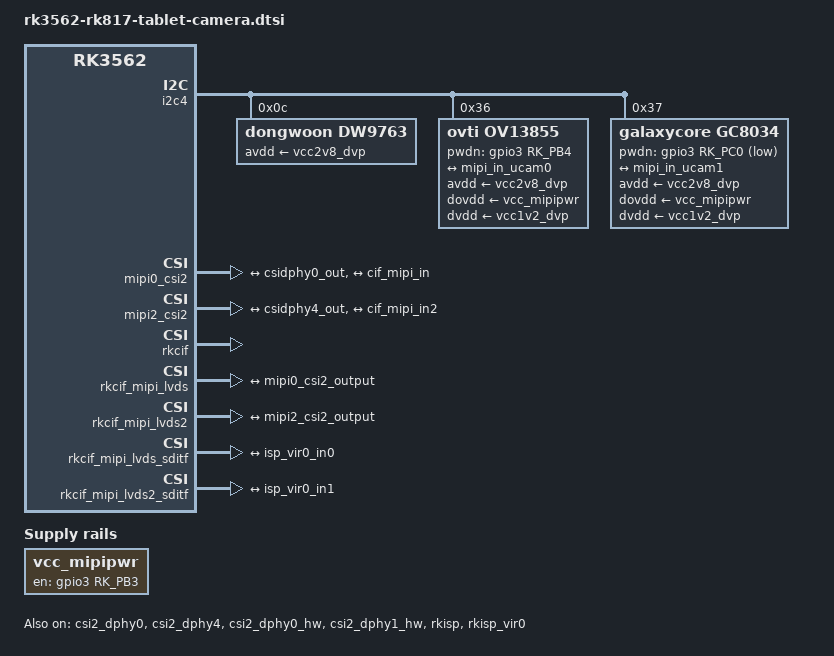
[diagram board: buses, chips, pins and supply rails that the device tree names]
// SPDX-License-Identifier: (GPL-2.0+ OR MIT)
/*
 * Copyright (c) 2022 Rockchip Electronics Co., Ltd.
 *
 */
/ {
	vcc_mipipwr: vcc-mipipwr-regulator {
		compatible = "regulator-fixed";
		gpio = <&gpio3 RK_PB3 GPIO_ACTIVE_HIGH>;
		pinctrl-names = "default";
		pinctrl-0 = <&mipicam_pwr>;
		regulator-name = "vcc_mipipwr";
		enable-active-high;
	};
};

&csi2_dphy0 {
	status = "okay";

	ports {
		#address-cells = <1>;
		#size-cells = <0>;

		port@0 {
			reg = <0>;
			#address-cells = <1>;
			#size-cells = <0>;

			mipi_in_ucam0: endpoint@1 {
				reg = <1>;
				remote-endpoint = <&ov13855_out0>;
				data-lanes = <1 2 3 4>;
			};
		};

		port@1 {
			reg = <1>;
			#address-cells = <1>;
			#size-cells = <0>;

			csidphy0_out: endpoint@0 {
				reg = <0>;
				remote-endpoint = <&mipi0_csi2_input>;
				data-lanes = <1 2 3 4>;
			};
		};
	};
};

&csi2_dphy4 {
	status = "okay";

	ports {
		#address-cells = <1>;
		#size-cells = <0>;

		port@0 {
			reg = <0>;
			#address-cells = <1>;
			#size-cells = <0>;

			mipi_in_ucam1: endpoint@1 {
				reg = <1>;
				remote-endpoint = <&gc8034_out0>;
				data-lanes = <1 2>;
			};
		};

		port@1 {
			reg = <1>;
			#address-cells = <1>;
			#size-cells = <0>;

			csidphy4_out: endpoint@0 {
				reg = <0>;
				remote-endpoint = <&mipi2_csi2_input>;
				data-lanes = <1 2>;
			};
		};
	};
};

&i2c4 {
	status = "okay";
	pinctrl-names = "default";
	pinctrl-0 = <&i2c4m0_xfer>;

	dw9763: dw9763@c {
		compatible = "dongwoon,dw9763";
		status = "okay";
		reg = <0x0c>;
		avdd-supply = <&vcc2v8_dvp>;
		rockchip,vcm-max-current = <120>;
		rockchip,vcm-start-current = <25>;
		rockchip,vcm-rated-current = <100>;
		rockchip,vcm-step-mode = <4>;
		rockchip,vcm-t-src = <0x20>;
		rockchip,vcm-t-div = <1>;
		rockchip,camera-module-index = <0>;
		rockchip,camera-module-facing = "back";
	};

	ov13855: ov13855@36 {
		status = "okay";
		compatible = "ovti,ov13855";
		reg = <0x36>;
		clocks = <&cru CLK_CAM0_OUT2IO>;
		clock-names = "xvclk";
		pwdn-gpios = <&gpio3 RK_PB4 GPIO_ACTIVE_HIGH>;
		avdd-supply = <&vcc2v8_dvp>;
		dovdd-supply = <&vcc_mipipwr>;
		dvdd-supply = <&vcc1v2_dvp>;
		rockchip,camera-module-index = <0>;
		rockchip,camera-module-facing = "back";
		rockchip,camera-module-name = "KYT-10203-v1";
		rockchip,camera-module-lens-name = "default";
		lens-focus = <&dw9763>;

		port {
			ov13855_out0: endpoint {
				remote-endpoint = <&mipi_in_ucam0>;
				data-lanes = <1 2 3 4>;
			};
		};
	};

	gc8034: gc8034@37 {
		compatible = "galaxycore,gc8034";
		status = "okay";
		reg = <0x37>;
		clocks = <&cru CLK_CAM0_OUT2IO>;
		clock-names = "xvclk";
		pwdn-gpios = <&gpio3 RK_PC0 GPIO_ACTIVE_LOW>;
		avdd-supply = <&vcc2v8_dvp>;
		dovdd-supply = <&vcc_mipipwr>;
		dvdd-supply = <&vcc1v2_dvp>;
		rockchip,camera-module-index = <1>;
		rockchip,camera-module-facing = "front";
		rockchip,camera-module-name = "KYT-10203-v1";
		rockchip,camera-module-lens-name = "default";
		port {
			gc8034_out0: endpoint {
				remote-endpoint = <&mipi_in_ucam1>;
				data-lanes = <1 2>;
			};
		};
	};
};

&csi2_dphy0_hw {
	status = "okay";
};

&csi2_dphy1_hw {
	status = "okay";
};

&mipi0_csi2 {
	status = "okay";

	ports {
		#address-cells = <1>;
		#size-cells = <0>;

		port@0 {
			reg = <0>;
			#address-cells = <1>;
			#size-cells = <0>;

			mipi0_csi2_input: endpoint@1 {
				reg = <1>;
				remote-endpoint = <&csidphy0_out>;
				data-lanes = <1 2 3 4>;
			};
		};

		port@1 {
			reg = <1>;
			#address-cells = <1>;
			#size-cells = <0>;

			mipi0_csi2_output: endpoint@0 {
				reg = <0>;
				remote-endpoint = <&cif_mipi_in>;
				data-lanes = <1 2 3 4>;
			};
		};
	};
};

&mipi2_csi2 {
	status = "okay";

	ports {
		#address-cells = <1>;
		#size-cells = <0>;

		port@0 {
			reg = <0>;
			#address-cells = <1>;
			#size-cells = <0>;

			mipi2_csi2_input: endpoint@1 {
				reg = <1>;
				remote-endpoint = <&csidphy4_out>;
				data-lanes = <1 2>;
			};
		};

		port@1 {
			reg = <1>;
			#address-cells = <1>;
			#size-cells = <0>;

			mipi2_csi2_output: endpoint@0 {
				reg = <0>;
				remote-endpoint = <&cif_mipi_in2>;
				data-lanes = <1 2>;
			};
		};
	};
};

&rkcif {
	status = "okay";
	pinctrl-names = "default";
	pinctrl-0 = <&camm0_clk0_out>;
};

&rkcif_mipi_lvds {
	status = "okay";

	port {
		cif_mipi_in: endpoint {
			remote-endpoint = <&mipi0_csi2_output>;
		};
	};
};

&rkcif_mipi_lvds2 {
	status = "okay";

	port {
		cif_mipi_in2: endpoint {
			remote-endpoint = <&mipi2_csi2_output>;
		};
	};
};

&rkcif_mipi_lvds_sditf {
	status = "okay";

	port {
		mipi_lvds_sditf: endpoint {
			remote-endpoint = <&isp_vir0_in0>;
		};
	};
};

&rkcif_mipi_lvds2_sditf {
	status = "okay";

	port {
		mipi_lvds2_sditf: endpoint {
			remote-endpoint = <&isp_vir0_in1>;
		};
	};
};

&rkcif_mmu {
	status = "okay";
};

&rkisp {
	status = "okay";
};

&rkisp_mmu {
	status = "okay";
};

&rkisp_vir0 {
	status = "okay";

	port {
		#address-cells = <1>;
		#size-cells = <0>;

		isp_vir0_in0: endpoint@0 {
			reg = <0>;
			remote-endpoint = <&mipi_lvds_sditf>;
		};
		isp_vir0_in1: endpoint@1 {
			reg = <1>;
			remote-endpoint = <&mipi_lvds2_sditf>;
		};
	};
};

&pinctrl {
	cam {
		mipicam_pwr: mipicam-pwr {
			rockchip,pins =
				/* camera power en */
				<3 RK_PB3 RK_FUNC_GPIO &pcfg_pull_none>;
		};
	};
};
